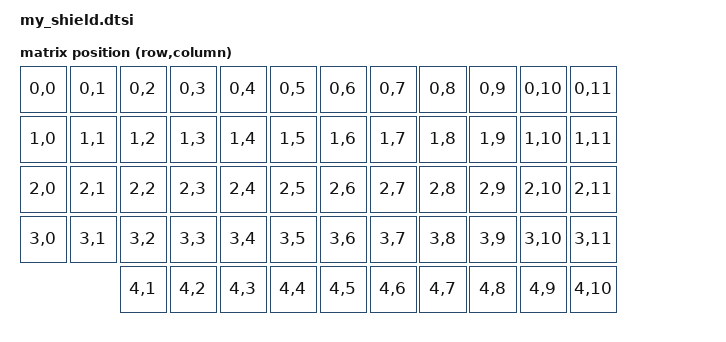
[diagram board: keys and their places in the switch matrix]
/* src-zmk/boards/shields/my_shield/my_shield.dtsi */

#include <dt-bindings/zmk/matrix_transform.h>

/ {
    /* Definiamo il trasformatore logico */
    default_transform: keymap_transform_0 {
        compatible = "zmk,matrix-transform";
        
        /* * Dimensioni totali della matrice LOGICA (Master + Slave).
         * 6 colonne a sinistra + 6 a destra = 12 colonne totali.
         * Assumiamo 5 righe elettriche (4 per le dita + 1 per il pollice).
         */
        columns = <12>;
        rows = <5>;

        /*
         * Qui disegniamo letteralmente la tastiera usando la macro RC(riga, colonna).
         * L'ordine in cui scrivi queste macro è ESATTAMENTE l'ordine 
         * in cui dovrai scrivere i tasti nel file .keymap.
         */
        map = <
        // LATO SINISTRO (colonne 0-5)                 // LATO DESTRO (colonne 6-11 per via del col-offset=6)
        RC(0,0) RC(0,1) RC(0,2) RC(0,3) RC(0,4) RC(0,5)    RC(0,6) RC(0,7) RC(0,8) RC(0,9) RC(0,10) RC(0,11)
        RC(1,0) RC(1,1) RC(1,2) RC(1,3) RC(1,4) RC(1,5)    RC(1,6) RC(1,7) RC(1,8) RC(1,9) RC(1,10) RC(1,11)
        RC(2,0) RC(2,1) RC(2,2) RC(2,3) RC(2,4) RC(2,5)    RC(2,6) RC(2,7) RC(2,8) RC(2,9) RC(2,10) RC(2,11)
        RC(3,0) RC(3,1) RC(3,2) RC(3,3) RC(3,4) RC(3,5)    RC(3,6) RC(3,7) RC(3,8) RC(3,9) RC(3,10) RC(3,11)
        
        // TASTI POLLICE: Assumiamo che elettricamente usino la riga 4.
        // Li sfalsiamo visivamente per allinearli come nel mondo reale.
                        RC(4,1) RC(4,2) RC(4,3) RC(4,4) RC(4,5)    RC(4,6) RC(4,7) RC(4,8) RC(4,9) RC(4,10)
        >;
    };
};
